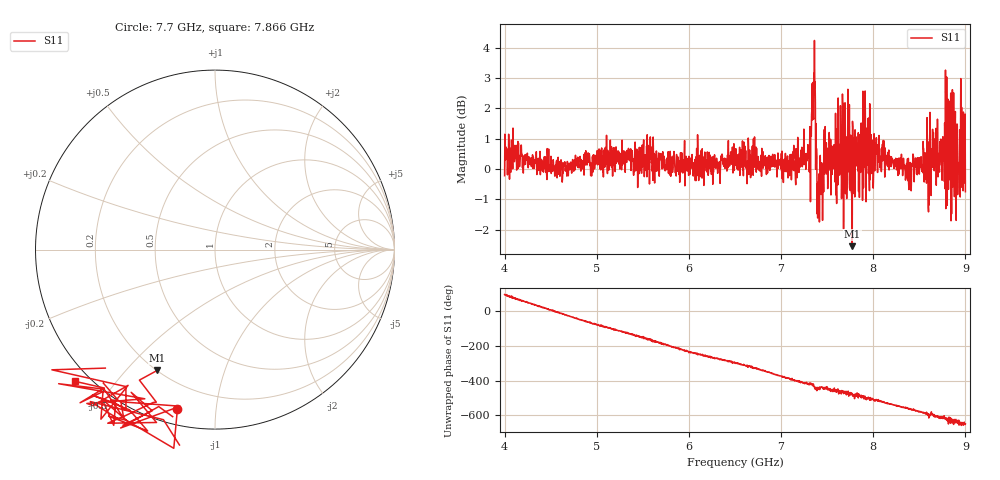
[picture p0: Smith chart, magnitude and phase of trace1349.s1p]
! Created with skrf 1.8.0 (http://scikit-rf.org).
# Hz S RI R 50.0
!freq ReS11 ImS11
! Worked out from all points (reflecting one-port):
!   1601 points, 4 GHz to 9 GHz, reference 50 ohm
!   lowest |S11| = -2.5 dB at 7.772 GHz (marker M1), VSWR 6.90, Z = 10 - j30.6 ohm
!   phase of S11 starts at 95 deg and turns -744 deg over the sweep
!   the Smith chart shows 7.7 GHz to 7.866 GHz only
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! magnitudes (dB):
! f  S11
! 4 GHz  -0.2
! 4.1 GHz  0.8
! 4.625 GHz  -0.4
! 5.25 GHz  0.0
! 5.875 GHz  -0.1
! 6.5 GHz  0.2
! 7.125 GHz  0.3
! 7.294 GHz  0.4
! 7.347 GHz  2.9
! 7.362 GHz  4.2
! 7.397 GHz  -1.6
! 7.412 GHz  -0.2
! 7.478 GHz  1.4
! 7.591 GHz  1.8
! 7.669 GHz  2.0
! 7.75 GHz  -0.7
! 7.772 GHz  -2.5
! 7.891 GHz  0.3
! 7.944 GHz  0.8
! 8.375 GHz  -0.3
! 8.616 GHz  1.9
! 8.656 GHz  0.7
! 8.766 GHz  0.5
! 8.816 GHz  -0.7
! 8.828 GHz  2.2
! 8.919 GHz  -0.1
! 8.972 GHz  0.5
! 9 GHz  -0.7
